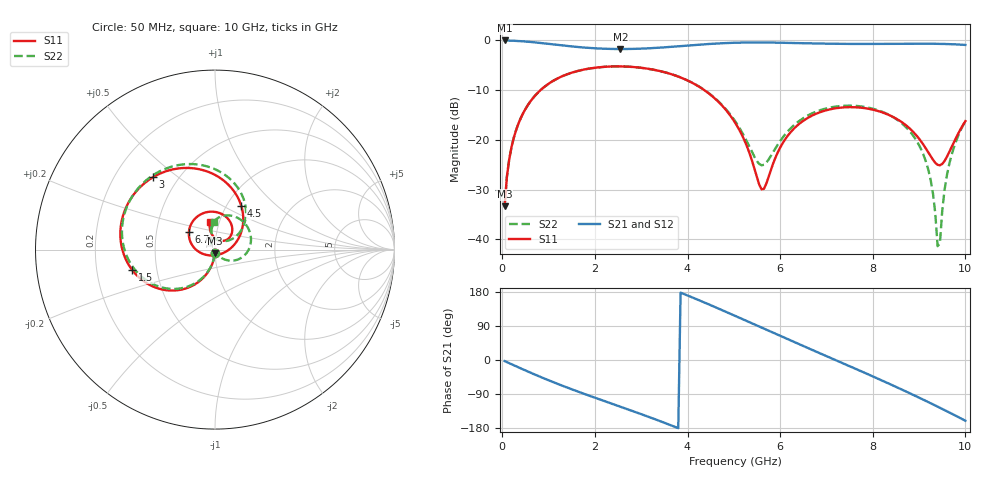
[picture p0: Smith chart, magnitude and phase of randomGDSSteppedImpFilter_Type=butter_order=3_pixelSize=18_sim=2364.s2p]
! freq	dB(S11)	phase(S11)	dB(S12)	phase(S12)
!  dB(S21)	phase(S21)	dB(S22)	phase(S22)
!S-par simulation data
#  GHz  S  DB  R 50
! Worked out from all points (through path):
!   200 points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, 50 MHz to 10 GHz, reference 50 ohm
!   highest |S21| = -0.01 dB at 50 MHz (marker M1); lowest = -1.7 dB at 2.55 GHz (marker M2)
!   group delay of S21, straight-line fit = 142 ps
!   lowest |S11| = -33.3 dB at 50 MHz (marker M3), VSWR 1.04, Z = 49.8 - j2.15 ohm
!   |S11| at or under -10 dB: start of sweep to 824.4 MHz; 4.364 GHz to end of sweep
!   |S22| runs from -41.4 to -5.2 dB; largest |S21 - S12| = 0
!   S11 on the Smith chart (normalised r, x): 50 MHz: 1.00, -0.04; 1.5 GHz: 0.36, -0.11; 3 GHz: 0.36, +0.41; 4.5 GHz: 1.17, +0.62; 6.7 GHz: 0.73, +0.15; 10 GHz: 0.90, +0.28
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0.05  -33.32 -92.9  -0.01 -2.8  -0.01 -2.8  -33.32 -93.0
0.2  -21.40 -101.4  -0.05 -11.2  -0.05 -11.2  -21.40 -101.9
0.45  -14.62 -114.7  -0.18 -24.9  -0.18 -24.9  -14.63 -115.9
1.5  -6.48 -165.9  -1.21 -77.3  -1.21 -77.3  -6.49 -169.8
1.75  -5.88 -176.8  -1.42 -88.5  -1.42 -88.5  -5.88 178.6
2.55  -5.22 149.6  -1.73 -123.2  -1.73 -123.2  -5.22 143.0
3  -5.50 130.6  -1.65 -142.9  -1.65 -142.9  -5.50 123.0
3.4  -6.15 113.1  -1.45 -160.9  -1.45 -160.9  -6.15 104.8
4.5  -10.95 58.8  -0.69 144.7  -0.69 144.7  -10.89 53.0
5.05  -16.87 24.9  -0.46 115.2  -0.46 115.2  -16.54 33.0
5.6  -29.94 -72.6  -0.41 85.2  -0.41 85.2  -25.10 67.3
6.1  -19.99 -177.1  -0.48 58.2  -0.48 58.2  -18.98 101.6
6.7  -15.06 145.2  -0.60 26.2  -0.60 26.2  -14.62 80.4
7.5  -13.41 103.9  -0.70 -16.3  -0.70 -16.3  -13.11 40.1
8.35  -14.98 62.5  -0.68 -62.4  -0.68 -62.4  -14.95 -5.1
9.1  -21.05 39.5  -0.65 -105.2  -0.65 -105.2  -23.11 -48.1
9.3  -23.98 49.8  -0.67 -117.1  -0.67 -117.1  -30.77 -66.3
9.4  -25.00 63.1  -0.68 -123.1  -0.68 -123.1  -41.35 -108.4
9.45  -25.09 71.3  -0.69 -126.1  -0.69 -126.1  -40.77 166.2
9.55  -24.23 87.2  -0.71 -132.2  -0.71 -132.2  -30.04 125.2
9.65  -22.47 97.9  -0.74 -138.3  -0.74 -138.3  -24.90 114.4
10  -16.22 101.0  -0.91 -160.2  -0.91 -160.2  -16.19 91.5
